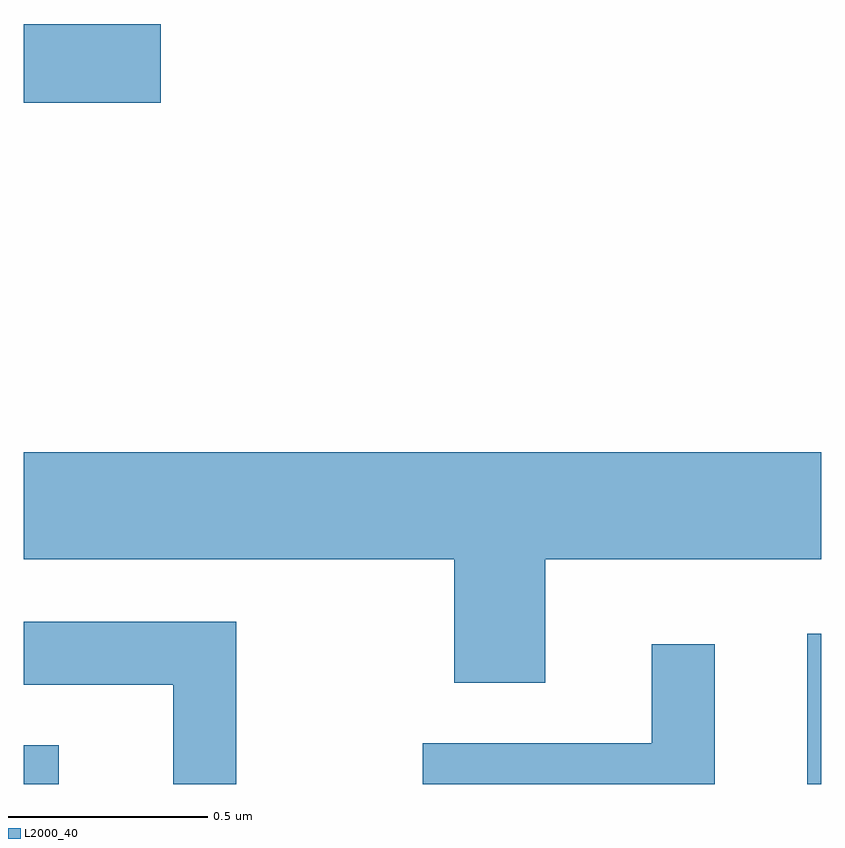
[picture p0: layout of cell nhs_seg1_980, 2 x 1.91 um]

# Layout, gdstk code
import gdstk
lib = gdstk.Library(unit=1e-6, precision=1e-09)
def R(c, l, rs):  # rectangles x0, y0, x1, y1
    for r in rs: c.add(gdstk.rectangle(r[:2], r[2:], *l))
def P(c, l, *ps):  # polygons
    for p in ps: c.add(gdstk.Polygon(p, *l))
L2000_40 = (2000, 40)

nhs_seg1_980 = lib.new_cell('nhs_seg1_980')
R(nhs_seg1_980, L2000_40, [(192.611,865.712,192.698,865.809), (194.576,865.712,194.611,866.089), (192.611,867.421,192.954,867.619)])
P(nhs_seg1_980, L2000_40, [(193.919,866.276),(194.611,866.276),(194.611,866.544),(192.611,866.544),(192.611,866.276),(193.691,866.276),(193.691,865.966),(193.919,865.966)],
  [(193.144,866.119),(192.611,866.119),(192.611,865.961),(192.986,865.961),(192.986,865.712),(193.144,865.712)],
  [(194.344,866.063),(194.186,866.063),(194.186,865.814),(193.611,865.814),(193.611,865.712),(194.344,865.712)])

lib.write_gds('nhs_seg1_980.gds')
